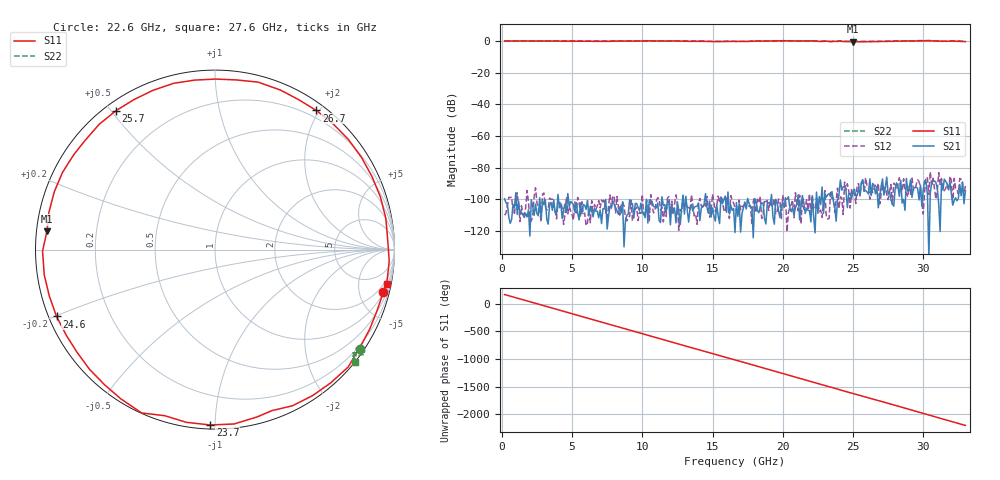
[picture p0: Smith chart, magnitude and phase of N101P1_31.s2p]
# GHZ S RI R 50
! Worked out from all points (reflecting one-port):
!   329 points, 200 MHz to 33 GHz, reference 50 ohm
!   lowest |S11| = -0.5 dB at 25 GHz (marker M1), VSWR 33.31, Z = 1.51 + j2.74 ohm
!   phase of S11 starts at 166 deg and turns -2370 deg over the sweep
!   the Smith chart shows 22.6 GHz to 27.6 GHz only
!   S11 on the Smith chart (normalised r, x): 22.6 GHz: 1.08, -7.96; 23.7 GHz: 0.02, -0.97; 24.6 GHz: 0.02, -0.20; 25.7 GHz: 0.03, +0.51; 26.7 GHz: 0.10, +1.96; 27.6 GHz: 1.20, -9.88
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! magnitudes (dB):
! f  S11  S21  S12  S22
! 200 MHz  0.0  -99.7  -110.1  0.0
! 5.7 GHz  -0.2  -109.3  -101.6  -0.1
! 11.2 GHz  0.0  -113.5  -99.6  0.1
! 16.6 GHz  -0.3  -121.1  -105.1  -0.2
! 20.4 GHz  0.2  -98.4  -108.6  0.2
! 22.1 GHz  0.0  -98.0  -97.4  0.1
! 22.6 GHz  -0.3  -98.3  -107.9  -0.2
! 23 GHz  -0.1  -96.5  -94.6  0.1
! 23.4 GHz  -0.4  -98.4  -95.7  -0.4
! 23.7 GHz  -0.2  -104.6  -108.2  0.0
! 23.9 GHz  -0.3  -100.2  -93.0  -0.1
! 24 GHz  0.0  -97.4  -106.0  0.2
! 24.6 GHz  -0.4  -105.3  -90.2  -0.2
! 25 GHz  -0.5  -94.7  -95.6  -0.3
! 25.7 GHz  -0.4  -87.6  -89.1  -0.3
! 26.7 GHz  -0.4  -92.6  -92.9  -0.2
! 27.6 GHz  -0.2  -95.1  -94.9  0.0
! 30.4 GHz  0.1  -136.6  -97.0  0.3
! 31.4 GHz  -0.2  -94.2  -94.7  -0.2
! 31.8 GHz  -0.1  -93.4  -94.9  -0.1
! 32 GHz  0.0  -96.4  -88.1  0.2
! 33 GHz  -0.4  -94.6  -91.4  -0.2
